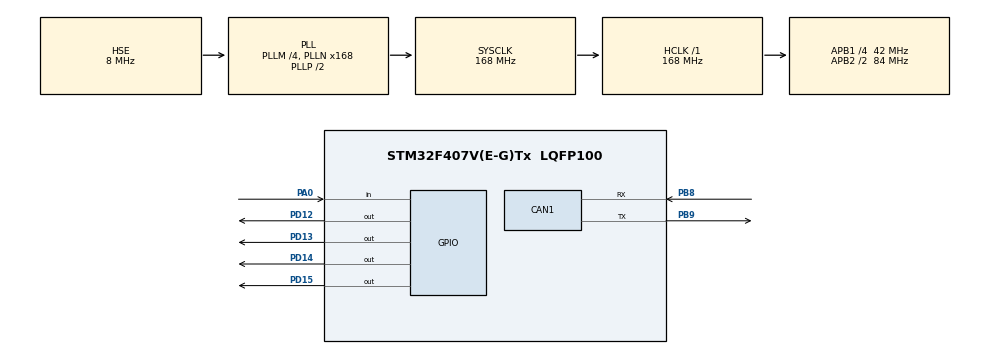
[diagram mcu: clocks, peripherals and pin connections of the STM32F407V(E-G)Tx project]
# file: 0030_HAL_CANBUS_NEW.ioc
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CAN1.BS1=CAN_BS1_4TQ
CAN1.BS2=CAN_BS2_2TQ
CAN1.CalculateTimeQuantum=380.95238095238096
Mcu.Family=STM32F4
Mcu.Name=STM32F407V(E-G)Tx
Mcu.Package=LQFP100
NVIC.CAN1_RX0_IRQn=true\:0\:0\:false\:false\:true\:true\:true
NVIC.PriorityGroup=NVIC_PRIORITYGROUP_4
PA0-WKUP.Signal=GPIO_Input
PB8.Mode=Master
PB8.Signal=CAN1_RX
PB9.Mode=Master
PB9.Signal=CAN1_TX
PD12.Signal=GPIO_Output
PD13.Signal=GPIO_Output
PD14.Signal=GPIO_Output
PD15.Signal=GPIO_Output
PH0-OSC_IN.Mode=HSE-External-Oscillator
PH0-OSC_IN.Signal=RCC_OSC_IN
PH1-OSC_OUT.Mode=HSE-External-Oscillator
PH1-OSC_OUT.Signal=RCC_OSC_OUT
ProjectManager.HeapSize=0x200
ProjectManager.StackSize=0x400
ProjectManager.TargetToolchain=TrueSTUDIO
RCC.48MHZClocksFreq_Value=84000000
RCC.AHBFreq_Value=168000000
RCC.APB1CLKDivider=RCC_HCLK_DIV4
RCC.APB1Freq_Value=42000000
RCC.APB1TimFreq_Value=84000000
RCC.APB2CLKDivider=RCC_HCLK_DIV2
RCC.APB2Freq_Value=84000000
RCC.APB2TimFreq_Value=168000000
RCC.CortexFreq_Value=168000000
RCC.HCLKFreq_Value=168000000
RCC.HSE_VALUE=8000000
RCC.HSI_VALUE=16000000
RCC.LSE_VALUE=32768
RCC.PLLM=4
RCC.PLLN=168
RCC.PLLSourceVirtual=RCC_PLLSOURCE_HSE
RCC.SYSCLKFreq_VALUE=168000000
RCC.SYSCLKSource=RCC_SYSCLKSOURCE_PLLCLK
RCC.VCOOutputFreq_Value=336000000
board=custom

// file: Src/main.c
/* USER CODE BEGIN Header */
/**
  ******************************************************************************
  * @file           : main.c
  * @brief          : Main program body
  ******************************************************************************
  * @attention
  *
  * <h2><center>&copy; Copyright (c) 2019 STMicroelectronics.
  * All rights reserved.</center></h2>
  *
  * This software component is licensed by ST under BSD 3-Clause license,
  * the "License"; You may not use this file except in compliance with the
  * License. You may obtain a copy of the License at:
  *                        opensource.org/licenses/BSD-3-Clause
  *
  ******************************************************************************
  */
/* USER CODE END Header */

#include "main.h"

CAN_HandleTypeDef hcan1;

	/* Rx and Tx Message structure/typedef */
static CanRxMsgTypeDef myRxMessage;
static CanTxMsgTypeDef myTxMessage;

	/* Own and Remote IDs */
uint16_t OwnID = 0x124;
uint16_t RemoteID = 0x123;

uint8_t myLEDVariable;

void SystemClock_Config(void);
static void MX_GPIO_Init(void);
static void MX_CAN1_Init(void);
/* USER CODE BEGIN PFP */
void CAN_FilterConfig();

void LED_Switch(uint8_t led);
/* USER CODE END PFP */

int main(void)
{

  /* MCU Configuration--------------------------------------------------------*/

  /* Reset of all peripherals, Initializes the Flash interface and the Systick. */
  HAL_Init();

  /* Configure the system clock */
  SystemClock_Config();

  /* Initialize all configured peripherals */
  MX_GPIO_Init();
  MX_CAN1_Init();
  /* USER CODE BEGIN 2 */

  	  /* Filter Config */
  CAN_FilterConfig();
  	  /* Start listining for CAN Traffic with interrupt */
  HAL_CAN_Receive_IT(&hcan1, CAN_FIFO0);	// because Rx0 interrupt enable
  	  /* Set Transmit parameter */
  hcan1.pTxMsg->IDE = CAN_ID_STD;
  hcan1.pTxMsg->StdId = OwnID;
  hcan1.pTxMsg->RTR = CAN_RTR_DATA;
  hcan1.pTxMsg->DLC = 2;

  /* USER CODE END 2 */

  /* Infinite loop */
  while (1)
  {

    /* USER CODE BEGIN 3 */
	  if(HAL_GPIO_ReadPin(GPIOA, GPIO_PIN_0))
	  {
		  // Transmit CAN Packet
		  if(myLEDVariable == 4)
			  myLEDVariable = 0;

		  LED_Switch(++myLEDVariable);

		  hcan1.pTxMsg->Data[0] = myLEDVariable;
		  hcan1.pTxMsg->Data[1] = 0x12;
		  HAL_CAN_Transmit(&hcan1, 20);

		  HAL_Delay(300);
	  }
  }
  /* USER CODE END 3 */
}

void SystemClock_Config(void)
{
  RCC_OscInitTypeDef RCC_OscInitStruct = {0};
  RCC_ClkInitTypeDef RCC_ClkInitStruct = {0};

  /** Configure the main internal regulator output voltage
  */
  __HAL_RCC_PWR_CLK_ENABLE();
  __HAL_PWR_VOLTAGESCALING_CONFIG(PWR_REGULATOR_VOLTAGE_SCALE1);
  /** Initializes the CPU, AHB and APB busses clocks
  */
  RCC_OscInitStruct.OscillatorType = RCC_OSCILLATORTYPE_HSE;
  RCC_OscInitStruct.HSEState = RCC_HSE_ON;
  RCC_OscInitStruct.PLL.PLLState = RCC_PLL_ON;
  RCC_OscInitStruct.PLL.PLLSource = RCC_PLLSOURCE_HSE;
  RCC_OscInitStruct.PLL.PLLM = 4;
  RCC_OscInitStruct.PLL.PLLN = 168;
  RCC_OscInitStruct.PLL.PLLP = RCC_PLLP_DIV2;
  RCC_OscInitStruct.PLL.PLLQ = 4;
  if (HAL_RCC_OscConfig(&RCC_OscInitStruct) != HAL_OK)
  {
    Error_Handler();
  }
  /** Initializes the CPU, AHB and APB busses clocks
  */
  RCC_ClkInitStruct.ClockType = RCC_CLOCKTYPE_HCLK|RCC_CLOCKTYPE_SYSCLK
                              |RCC_CLOCKTYPE_PCLK1|RCC_CLOCKTYPE_PCLK2;
  RCC_ClkInitStruct.SYSCLKSource = RCC_SYSCLKSOURCE_PLLCLK;
  RCC_ClkInitStruct.AHBCLKDivider = RCC_SYSCLK_DIV1;
  RCC_ClkInitStruct.APB1CLKDivider = RCC_HCLK_DIV4;
  RCC_ClkInitStruct.APB2CLKDivider = RCC_HCLK_DIV2;

  if (HAL_RCC_ClockConfig(&RCC_ClkInitStruct, FLASH_LATENCY_5) != HAL_OK)
  {
    Error_Handler();
  }
}

static void MX_CAN1_Init(void)
{

  hcan1.Instance = CAN1;

  hcan1.pTxMsg = &myTxMessage;
  hcan1.pRxMsg = &myRxMessage;

  hcan1.Init.Prescaler = 16;
  hcan1.Init.Mode = CAN_MODE_NORMAL;
  hcan1.Init.SJW = CAN_SJW_1TQ;
  hcan1.Init.BS1 = CAN_BS1_4TQ;
  hcan1.Init.BS2 = CAN_BS2_2TQ;
  hcan1.Init.TTCM = DISABLE;
  hcan1.Init.ABOM = DISABLE;
  hcan1.Init.AWUM = DISABLE;
  hcan1.Init.NART = DISABLE;
  hcan1.Init.RFLM = DISABLE;
  hcan1.Init.TXFP = DISABLE;
  if (HAL_CAN_Init(&hcan1) != HAL_OK)
  {
    Error_Handler();
  }

}

static void MX_GPIO_Init(void)
{
  GPIO_InitTypeDef GPIO_InitStruct = {0};

  /* GPIO Ports Clock Enable */
  __HAL_RCC_GPIOH_CLK_ENABLE();
  __HAL_RCC_GPIOA_CLK_ENABLE();
  __HAL_RCC_GPIOD_CLK_ENABLE();
  __HAL_RCC_GPIOB_CLK_ENABLE();

  /*Configure GPIO pin Output Level */
  HAL_GPIO_WritePin(GPIOD, GPIO_PIN_12|GPIO_PIN_13|GPIO_PIN_14|GPIO_PIN_15, GPIO_PIN_RESET);

  /*Configure GPIO pin : PA0 */
  GPIO_InitStruct.Pin = GPIO_PIN_0;
  GPIO_InitStruct.Mode = GPIO_MODE_INPUT;
  GPIO_InitStruct.Pull = GPIO_NOPULL;
  HAL_GPIO_Init(GPIOA, &GPIO_InitStruct);

  /*Configure GPIO pins : PD12 PD13 PD14 PD15 */
  GPIO_InitStruct.Pin = GPIO_PIN_12|GPIO_PIN_13|GPIO_PIN_14|GPIO_PIN_15;
  GPIO_InitStruct.Mode = GPIO_MODE_OUTPUT_PP;
  GPIO_InitStruct.Pull = GPIO_NOPULL;
  GPIO_InitStruct.Speed = GPIO_SPEED_FREQ_LOW;
  HAL_GPIO_Init(GPIOD, &GPIO_InitStruct);
}

void LED_Switch(uint8_t led)
{
	HAL_GPIO_WritePin(GPIOD, GPIO_PIN_12, GPIO_PIN_RESET);
	HAL_GPIO_WritePin(GPIOD, GPIO_PIN_13, GPIO_PIN_RESET);
	HAL_GPIO_WritePin(GPIOD, GPIO_PIN_14, GPIO_PIN_RESET);
	HAL_GPIO_WritePin(GPIOD, GPIO_PIN_15, GPIO_PIN_RESET);

	switch(led)
	{
	case 1:
		HAL_GPIO_WritePin(GPIOD, GPIO_PIN_12, GPIO_PIN_SET);
		break;
	case 2:
		HAL_GPIO_WritePin(GPIOD, GPIO_PIN_13, GPIO_PIN_SET);
		break;
	case 3:
		HAL_GPIO_WritePin(GPIOD, GPIO_PIN_14, GPIO_PIN_SET);
		break;
	case 4:
		HAL_GPIO_WritePin(GPIOD, GPIO_PIN_15, GPIO_PIN_SET);
		break;
	default:
		break;
	}
}

/* USER CODE BEGIN 4 */

void CAN_FilterConfig()
{
	CAN_FilterConfTypeDef filterConfig;

	filterConfig.BankNumber = 14;
	filterConfig.FilterActivation = ENABLE;
	filterConfig.FilterFIFOAssignment = 0;
	filterConfig.FilterIdHigh = RemoteID << 5;
	filterConfig.FilterIdLow = 0x0000;
	filterConfig.FilterMaskIdHigh = 0xFFE0;
	filterConfig.FilterMaskIdLow = 0x0000;
	filterConfig.FilterMode = CAN_FILTERMODE_IDMASK;
	filterConfig.FilterNumber = 0;
	filterConfig.FilterScale = CAN_FILTERSCALE_32BIT;

	HAL_CAN_ConfigFilter(&hcan1, &filterConfig);
}

void HAL_CAN_RxCpltCallback(CAN_HandleTypeDef* hcan)
{
	if(hcan->pRxMsg->StdId == RemoteID)
	{
		myLEDVariable = hcan->pRxMsg->Data[0];
		LED_Switch(myLEDVariable);
	}

	/* Start listining another CAN packet */
	HAL_CAN_Receive_IT(&hcan1, CAN_FIFO0);
}

/* USER CODE END 4 */

void Error_Handler(void)
{
}

/************************ (C) COPYRIGHT STMicroelectronics *****END OF FILE****/
